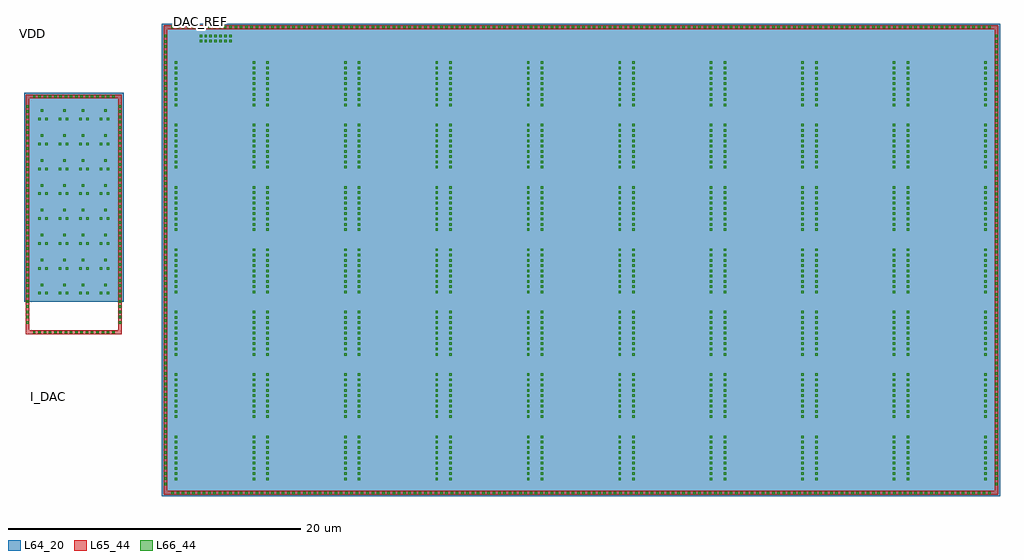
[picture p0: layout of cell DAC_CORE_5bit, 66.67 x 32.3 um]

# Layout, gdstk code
from math import pi, radians
import gdstk
lib = gdstk.Library(unit=1e-6, precision=1e-09)
def R(c, l, rs):  # rectangles x0, y0, x1, y1
    for r in rs: c.add(gdstk.rectangle(r[:2], r[2:], *l))
def A(c, l, x, y, w, h, nx, ny, dx, dy):  # array of equal rectangles
    R(c, l, [(x+i*dx, y+j*dy, x+i*dx+w, y+j*dy+h) for i in range(nx) for j in range(ny)])
L64_20 = (64, 20)
L65_44 = (65, 44)
L66_44 = (66, 44)

d_sky130_fd_pr__pfet_01v = lib.new_cell('D$sky130_fd_pr__pfet_01v8')
R(d_sky130_fd_pr__pfet_01v, L64_20, [(-0.075,-0.21,0.075,0.21)])

c_d_sky130_fd_pr__pfet_01v = lib.new_cell('D$sky130_fd_pr__pfet_01v8$1')
R(c_d_sky130_fd_pr__pfet_01v, L64_20, [(-2.5,-1.75,2.5,1.75)])

dac_core_5bit = lib.new_cell('DAC_CORE_5bit')
A(dac_core_5bit, L64_20, -0.325, -0.38, 6.25, 4.26, 9, 7, 6.25, 4.26)
A(dac_core_5bit, L64_20, -9.645, 12.41, 1.4, 1.7, 4, 8, 1.4, 1.7)
R(dac_core_5bit, L64_20, [(-0.825,-0.88,56.425,31.42), (-10.245,12.41,-3.445,26.685)])
R(dac_core_5bit, L65_44, [(-0.7,-0.755,-0.45,31.045), (-0.45,-0.755,56.3,-0.505), (56.05,-0.505,56.3,31.045), (-10.12,10.21,-9.87,26.31), (-9.87,10.21,-3.57,10.46), (-3.82,10.46,-3.57,26.31), (-10.12,26.31,-3.57,26.56), (-0.7,31.045,56.3,31.295)])
A(dac_core_5bit, L66_44, -0.185, -0.715, 0.17, 0.17, 156, 2, 0.36, 31.8)
A(dac_core_5bit, L66_44, -0.66, -0.115, 0.17, 0.17, 1, 86, 0, 0.36)
A(dac_core_5bit, L66_44, 56.09, -0.115, 0.17, 0.17, 1, 86, 0, 0.36)
A(dac_core_5bit, L66_44, 0.065, 0.225, 0.17, 0.17, 1, 9, 0, 0.36)
A(dac_core_5bit, L66_44, 5.365, 0.225, 0.17, 0.17, 1, 9, 0, 0.36)
A(dac_core_5bit, L66_44, 6.315, 0.225, 0.17, 0.17, 1, 9, 0, 0.36)
A(dac_core_5bit, L66_44, 11.615, 0.225, 0.17, 0.17, 1, 9, 0, 0.36)
A(dac_core_5bit, L66_44, 12.565, 0.225, 0.17, 0.17, 1, 9, 0, 0.36)
A(dac_core_5bit, L66_44, 17.865, 0.225, 0.17, 0.17, 1, 9, 0, 0.36)
A(dac_core_5bit, L66_44, 18.815, 0.225, 0.17, 0.17, 1, 9, 0, 0.36)
A(dac_core_5bit, L66_44, 24.115, 0.225, 0.17, 0.17, 1, 9, 0, 0.36)
A(dac_core_5bit, L66_44, 25.065, 0.225, 0.17, 0.17, 1, 9, 0, 0.36)
A(dac_core_5bit, L66_44, 30.365, 0.225, 0.17, 0.17, 1, 9, 0, 0.36)
A(dac_core_5bit, L66_44, 31.315, 0.225, 0.17, 0.17, 1, 9, 0, 0.36)
A(dac_core_5bit, L66_44, 36.615, 0.225, 0.17, 0.17, 1, 9, 0, 0.36)
A(dac_core_5bit, L66_44, 37.565, 0.225, 0.17, 0.17, 1, 9, 0, 0.36)
A(dac_core_5bit, L66_44, 42.865, 0.225, 0.17, 0.17, 1, 9, 0, 0.36)
A(dac_core_5bit, L66_44, 43.815, 0.225, 0.17, 0.17, 1, 9, 0, 0.36)
A(dac_core_5bit, L66_44, 49.115, 0.225, 0.17, 0.17, 1, 9, 0, 0.36)
A(dac_core_5bit, L66_44, 50.065, 0.225, 0.17, 0.17, 1, 9, 0, 0.36)
A(dac_core_5bit, L66_44, 55.365, 0.225, 0.17, 0.17, 1, 9, 0, 0.36)
A(dac_core_5bit, L66_44, 0.065, 4.485, 0.17, 0.17, 1, 9, 0, 0.36)
A(dac_core_5bit, L66_44, 5.365, 4.485, 0.17, 0.17, 1, 9, 0, 0.36)
A(dac_core_5bit, L66_44, 6.315, 4.485, 0.17, 0.17, 1, 9, 0, 0.36)
A(dac_core_5bit, L66_44, 11.615, 4.485, 0.17, 0.17, 1, 9, 0, 0.36)
A(dac_core_5bit, L66_44, 12.565, 4.485, 0.17, 0.17, 1, 9, 0, 0.36)
A(dac_core_5bit, L66_44, 17.865, 4.485, 0.17, 0.17, 1, 9, 0, 0.36)
A(dac_core_5bit, L66_44, 18.815, 4.485, 0.17, 0.17, 1, 9, 0, 0.36)
A(dac_core_5bit, L66_44, 24.115, 4.485, 0.17, 0.17, 1, 9, 0, 0.36)
A(dac_core_5bit, L66_44, 25.065, 4.485, 0.17, 0.17, 1, 9, 0, 0.36)
A(dac_core_5bit, L66_44, 30.365, 4.485, 0.17, 0.17, 1, 9, 0, 0.36)
A(dac_core_5bit, L66_44, 31.315, 4.485, 0.17, 0.17, 1, 9, 0, 0.36)
A(dac_core_5bit, L66_44, 36.615, 4.485, 0.17, 0.17, 1, 9, 0, 0.36)
A(dac_core_5bit, L66_44, 37.565, 4.485, 0.17, 0.17, 1, 9, 0, 0.36)
A(dac_core_5bit, L66_44, 42.865, 4.485, 0.17, 0.17, 1, 9, 0, 0.36)
A(dac_core_5bit, L66_44, 43.815, 4.485, 0.17, 0.17, 1, 9, 0, 0.36)
A(dac_core_5bit, L66_44, 49.115, 4.485, 0.17, 0.17, 1, 9, 0, 0.36)
A(dac_core_5bit, L66_44, 50.065, 4.485, 0.17, 0.17, 1, 9, 0, 0.36)
A(dac_core_5bit, L66_44, 55.365, 4.485, 0.17, 0.17, 1, 9, 0, 0.36)
A(dac_core_5bit, L66_44, 0.065, 8.745, 0.17, 0.17, 1, 9, 0, 0.36)
A(dac_core_5bit, L66_44, 5.365, 8.745, 0.17, 0.17, 1, 9, 0, 0.36)
A(dac_core_5bit, L66_44, 6.315, 8.745, 0.17, 0.17, 1, 9, 0, 0.36)
A(dac_core_5bit, L66_44, 11.615, 8.745, 0.17, 0.17, 1, 9, 0, 0.36)
A(dac_core_5bit, L66_44, 12.565, 8.745, 0.17, 0.17, 1, 9, 0, 0.36)
A(dac_core_5bit, L66_44, 17.865, 8.745, 0.17, 0.17, 1, 9, 0, 0.36)
A(dac_core_5bit, L66_44, 18.815, 8.745, 0.17, 0.17, 1, 9, 0, 0.36)
A(dac_core_5bit, L66_44, 24.115, 8.745, 0.17, 0.17, 1, 9, 0, 0.36)
A(dac_core_5bit, L66_44, 25.065, 8.745, 0.17, 0.17, 1, 9, 0, 0.36)
A(dac_core_5bit, L66_44, 30.365, 8.745, 0.17, 0.17, 1, 9, 0, 0.36)
A(dac_core_5bit, L66_44, 31.315, 8.745, 0.17, 0.17, 1, 9, 0, 0.36)
A(dac_core_5bit, L66_44, 36.615, 8.745, 0.17, 0.17, 1, 9, 0, 0.36)
A(dac_core_5bit, L66_44, 37.565, 8.745, 0.17, 0.17, 1, 9, 0, 0.36)
A(dac_core_5bit, L66_44, 42.865, 8.745, 0.17, 0.17, 1, 9, 0, 0.36)
A(dac_core_5bit, L66_44, 43.815, 8.745, 0.17, 0.17, 1, 9, 0, 0.36)
A(dac_core_5bit, L66_44, 49.115, 8.745, 0.17, 0.17, 1, 9, 0, 0.36)
A(dac_core_5bit, L66_44, 50.065, 8.745, 0.17, 0.17, 1, 9, 0, 0.36)
A(dac_core_5bit, L66_44, 55.365, 8.745, 0.17, 0.17, 1, 9, 0, 0.36)
A(dac_core_5bit, L66_44, -9.63, 10.25, 0.17, 0.17, 16, 2, 0.36, 16.1)
A(dac_core_5bit, L66_44, -10.08, 10.92, 0.17, 0.17, 1, 42, 0, 0.36)
A(dac_core_5bit, L66_44, -3.78, 10.92, 0.17, 0.17, 1, 42, 0, 0.36)
A(dac_core_5bit, L66_44, -9.255, 12.915, 0.17, 0.17, 1, 8, 0, 1.7)
A(dac_core_5bit, L66_44, -8.805, 12.915, 0.17, 0.17, 1, 8, 0, 1.7)
A(dac_core_5bit, L66_44, -7.855, 12.915, 0.17, 0.17, 1, 8, 0, 1.7)
A(dac_core_5bit, L66_44, -7.405, 12.915, 0.17, 0.17, 1, 8, 0, 1.7)
A(dac_core_5bit, L66_44, -6.455, 12.915, 0.17, 0.17, 1, 8, 0, 1.7)
A(dac_core_5bit, L66_44, -6.005, 12.915, 0.17, 0.17, 1, 8, 0, 1.7)
A(dac_core_5bit, L66_44, -5.055, 12.915, 0.17, 0.17, 1, 8, 0, 1.7)
A(dac_core_5bit, L66_44, -4.605, 12.915, 0.17, 0.17, 1, 8, 0, 1.7)
A(dac_core_5bit, L66_44, 0.065, 13.005, 0.17, 0.17, 1, 9, 0, 0.36)
A(dac_core_5bit, L66_44, 5.365, 13.005, 0.17, 0.17, 1, 9, 0, 0.36)
A(dac_core_5bit, L66_44, 6.315, 13.005, 0.17, 0.17, 1, 9, 0, 0.36)
A(dac_core_5bit, L66_44, 11.615, 13.005, 0.17, 0.17, 1, 9, 0, 0.36)
A(dac_core_5bit, L66_44, 12.565, 13.005, 0.17, 0.17, 1, 9, 0, 0.36)
A(dac_core_5bit, L66_44, 17.865, 13.005, 0.17, 0.17, 1, 9, 0, 0.36)
A(dac_core_5bit, L66_44, 18.815, 13.005, 0.17, 0.17, 1, 9, 0, 0.36)
A(dac_core_5bit, L66_44, 24.115, 13.005, 0.17, 0.17, 1, 9, 0, 0.36)
A(dac_core_5bit, L66_44, 25.065, 13.005, 0.17, 0.17, 1, 9, 0, 0.36)
A(dac_core_5bit, L66_44, 30.365, 13.005, 0.17, 0.17, 1, 9, 0, 0.36)
A(dac_core_5bit, L66_44, 31.315, 13.005, 0.17, 0.17, 1, 9, 0, 0.36)
A(dac_core_5bit, L66_44, 36.615, 13.005, 0.17, 0.17, 1, 9, 0, 0.36)
A(dac_core_5bit, L66_44, 37.565, 13.005, 0.17, 0.17, 1, 9, 0, 0.36)
A(dac_core_5bit, L66_44, 42.865, 13.005, 0.17, 0.17, 1, 9, 0, 0.36)
A(dac_core_5bit, L66_44, 43.815, 13.005, 0.17, 0.17, 1, 9, 0, 0.36)
A(dac_core_5bit, L66_44, 49.115, 13.005, 0.17, 0.17, 1, 9, 0, 0.36)
A(dac_core_5bit, L66_44, 50.065, 13.005, 0.17, 0.17, 1, 9, 0, 0.36)
A(dac_core_5bit, L66_44, 55.365, 13.005, 0.17, 0.17, 1, 9, 0, 0.36)
A(dac_core_5bit, L66_44, -9.09, 13.49, 0.17, 0.17, 1, 8, 0, 1.7)
A(dac_core_5bit, L66_44, -7.57, 13.49, 0.17, 0.17, 1, 8, 0, 1.7)
A(dac_core_5bit, L66_44, -6.29, 13.49, 0.17, 0.17, 1, 8, 0, 1.7)
A(dac_core_5bit, L66_44, -4.77, 13.49, 0.17, 0.17, 1, 8, 0, 1.7)
A(dac_core_5bit, L66_44, 0.065, 17.265, 0.17, 0.17, 1, 9, 0, 0.36)
A(dac_core_5bit, L66_44, 5.365, 17.265, 0.17, 0.17, 1, 9, 0, 0.36)
A(dac_core_5bit, L66_44, 6.315, 17.265, 0.17, 0.17, 1, 9, 0, 0.36)
A(dac_core_5bit, L66_44, 11.615, 17.265, 0.17, 0.17, 1, 9, 0, 0.36)
A(dac_core_5bit, L66_44, 12.565, 17.265, 0.17, 0.17, 1, 9, 0, 0.36)
A(dac_core_5bit, L66_44, 17.865, 17.265, 0.17, 0.17, 1, 9, 0, 0.36)
A(dac_core_5bit, L66_44, 18.815, 17.265, 0.17, 0.17, 1, 9, 0, 0.36)
A(dac_core_5bit, L66_44, 24.115, 17.265, 0.17, 0.17, 1, 9, 0, 0.36)
A(dac_core_5bit, L66_44, 25.065, 17.265, 0.17, 0.17, 1, 9, 0, 0.36)
A(dac_core_5bit, L66_44, 30.365, 17.265, 0.17, 0.17, 1, 9, 0, 0.36)
A(dac_core_5bit, L66_44, 31.315, 17.265, 0.17, 0.17, 1, 9, 0, 0.36)
A(dac_core_5bit, L66_44, 36.615, 17.265, 0.17, 0.17, 1, 9, 0, 0.36)
A(dac_core_5bit, L66_44, 37.565, 17.265, 0.17, 0.17, 1, 9, 0, 0.36)
A(dac_core_5bit, L66_44, 42.865, 17.265, 0.17, 0.17, 1, 9, 0, 0.36)
A(dac_core_5bit, L66_44, 43.815, 17.265, 0.17, 0.17, 1, 9, 0, 0.36)
A(dac_core_5bit, L66_44, 49.115, 17.265, 0.17, 0.17, 1, 9, 0, 0.36)
A(dac_core_5bit, L66_44, 50.065, 17.265, 0.17, 0.17, 1, 9, 0, 0.36)
A(dac_core_5bit, L66_44, 55.365, 17.265, 0.17, 0.17, 1, 9, 0, 0.36)
A(dac_core_5bit, L66_44, 0.065, 21.525, 0.17, 0.17, 1, 9, 0, 0.36)
A(dac_core_5bit, L66_44, 5.365, 21.525, 0.17, 0.17, 1, 9, 0, 0.36)
A(dac_core_5bit, L66_44, 6.315, 21.525, 0.17, 0.17, 1, 9, 0, 0.36)
A(dac_core_5bit, L66_44, 11.615, 21.525, 0.17, 0.17, 1, 9, 0, 0.36)
A(dac_core_5bit, L66_44, 12.565, 21.525, 0.17, 0.17, 1, 9, 0, 0.36)
A(dac_core_5bit, L66_44, 17.865, 21.525, 0.17, 0.17, 1, 9, 0, 0.36)
A(dac_core_5bit, L66_44, 18.815, 21.525, 0.17, 0.17, 1, 9, 0, 0.36)
A(dac_core_5bit, L66_44, 24.115, 21.525, 0.17, 0.17, 1, 9, 0, 0.36)
A(dac_core_5bit, L66_44, 25.065, 21.525, 0.17, 0.17, 1, 9, 0, 0.36)
A(dac_core_5bit, L66_44, 30.365, 21.525, 0.17, 0.17, 1, 9, 0, 0.36)
A(dac_core_5bit, L66_44, 31.315, 21.525, 0.17, 0.17, 1, 9, 0, 0.36)
A(dac_core_5bit, L66_44, 36.615, 21.525, 0.17, 0.17, 1, 9, 0, 0.36)
A(dac_core_5bit, L66_44, 37.565, 21.525, 0.17, 0.17, 1, 9, 0, 0.36)
A(dac_core_5bit, L66_44, 42.865, 21.525, 0.17, 0.17, 1, 9, 0, 0.36)
A(dac_core_5bit, L66_44, 43.815, 21.525, 0.17, 0.17, 1, 9, 0, 0.36)
A(dac_core_5bit, L66_44, 49.115, 21.525, 0.17, 0.17, 1, 9, 0, 0.36)
A(dac_core_5bit, L66_44, 50.065, 21.525, 0.17, 0.17, 1, 9, 0, 0.36)
A(dac_core_5bit, L66_44, 55.365, 21.525, 0.17, 0.17, 1, 9, 0, 0.36)
A(dac_core_5bit, L66_44, 0.065, 25.785, 0.17, 0.17, 1, 9, 0, 0.36)
A(dac_core_5bit, L66_44, 5.365, 25.785, 0.17, 0.17, 1, 9, 0, 0.36)
A(dac_core_5bit, L66_44, 6.315, 25.785, 0.17, 0.17, 1, 9, 0, 0.36)
A(dac_core_5bit, L66_44, 11.615, 25.785, 0.17, 0.17, 1, 9, 0, 0.36)
A(dac_core_5bit, L66_44, 12.565, 25.785, 0.17, 0.17, 1, 9, 0, 0.36)
A(dac_core_5bit, L66_44, 17.865, 25.785, 0.17, 0.17, 1, 9, 0, 0.36)
A(dac_core_5bit, L66_44, 18.815, 25.785, 0.17, 0.17, 1, 9, 0, 0.36)
A(dac_core_5bit, L66_44, 24.115, 25.785, 0.17, 0.17, 1, 9, 0, 0.36)
A(dac_core_5bit, L66_44, 25.065, 25.785, 0.17, 0.17, 1, 9, 0, 0.36)
A(dac_core_5bit, L66_44, 30.365, 25.785, 0.17, 0.17, 1, 9, 0, 0.36)
A(dac_core_5bit, L66_44, 31.315, 25.785, 0.17, 0.17, 1, 9, 0, 0.36)
A(dac_core_5bit, L66_44, 36.615, 25.785, 0.17, 0.17, 1, 9, 0, 0.36)
A(dac_core_5bit, L66_44, 37.565, 25.785, 0.17, 0.17, 1, 9, 0, 0.36)
A(dac_core_5bit, L66_44, 42.865, 25.785, 0.17, 0.17, 1, 9, 0, 0.36)
A(dac_core_5bit, L66_44, 43.815, 25.785, 0.17, 0.17, 1, 9, 0, 0.36)
A(dac_core_5bit, L66_44, 49.115, 25.785, 0.17, 0.17, 1, 9, 0, 0.36)
A(dac_core_5bit, L66_44, 50.065, 25.785, 0.17, 0.17, 1, 9, 0, 0.36)
A(dac_core_5bit, L66_44, 55.365, 25.785, 0.17, 0.17, 1, 9, 0, 0.36)
A(dac_core_5bit, L66_44, 1.745, 30.135, 0.17, 0.17, 7, 2, 0.34, 0.34)
dac_core_5bit.add(gdstk.Reference(d_sky130_fd_pr__pfet_01v, (-7.545,13)))
dac_core_5bit.add(gdstk.Reference(d_sky130_fd_pr__pfet_01v, (-4.745,13)))
dac_core_5bit.add(gdstk.Reference(d_sky130_fd_pr__pfet_01v, (-7.545,14.7)))
dac_core_5bit.add(gdstk.Reference(d_sky130_fd_pr__pfet_01v, (-4.745,14.7)))
dac_core_5bit.add(gdstk.Reference(d_sky130_fd_pr__pfet_01v, (-7.545,16.4)))
dac_core_5bit.add(gdstk.Reference(d_sky130_fd_pr__pfet_01v, (-4.745,16.4)))
dac_core_5bit.add(gdstk.Reference(d_sky130_fd_pr__pfet_01v, (-7.545,18.1)))
dac_core_5bit.add(gdstk.Reference(d_sky130_fd_pr__pfet_01v, (-4.745,18.1)))
dac_core_5bit.add(gdstk.Reference(d_sky130_fd_pr__pfet_01v, (-7.545,19.8)))
dac_core_5bit.add(gdstk.Reference(d_sky130_fd_pr__pfet_01v, (-4.745,19.8)))
dac_core_5bit.add(gdstk.Reference(d_sky130_fd_pr__pfet_01v, (-7.545,21.5)))
dac_core_5bit.add(gdstk.Reference(d_sky130_fd_pr__pfet_01v, (-4.745,21.5)))
dac_core_5bit.add(gdstk.Reference(d_sky130_fd_pr__pfet_01v, (-7.545,23.2)))
dac_core_5bit.add(gdstk.Reference(d_sky130_fd_pr__pfet_01v, (-4.745,23.2)))
dac_core_5bit.add(gdstk.Reference(d_sky130_fd_pr__pfet_01v, (-7.545,24.9)))
dac_core_5bit.add(gdstk.Reference(d_sky130_fd_pr__pfet_01v, (-4.745,24.9)))
dac_core_5bit.add(gdstk.Reference(d_sky130_fd_pr__pfet_01v, (-8.945,13), rotation=pi, x_reflection=True))
dac_core_5bit.add(gdstk.Reference(d_sky130_fd_pr__pfet_01v, (-6.145,13), rotation=pi, x_reflection=True))
dac_core_5bit.add(gdstk.Reference(d_sky130_fd_pr__pfet_01v, (-8.945,14.7), rotation=pi, x_reflection=True))
dac_core_5bit.add(gdstk.Reference(d_sky130_fd_pr__pfet_01v, (-6.145,14.7), rotation=pi, x_reflection=True))
dac_core_5bit.add(gdstk.Reference(d_sky130_fd_pr__pfet_01v, (-8.945,16.4), rotation=pi, x_reflection=True))
dac_core_5bit.add(gdstk.Reference(d_sky130_fd_pr__pfet_01v, (-6.145,16.4), rotation=pi, x_reflection=True))
dac_core_5bit.add(gdstk.Reference(d_sky130_fd_pr__pfet_01v, (-8.945,18.1), rotation=pi, x_reflection=True))
dac_core_5bit.add(gdstk.Reference(d_sky130_fd_pr__pfet_01v, (-6.145,18.1), rotation=pi, x_reflection=True))
dac_core_5bit.add(gdstk.Reference(d_sky130_fd_pr__pfet_01v, (-8.945,19.8), rotation=pi, x_reflection=True))
dac_core_5bit.add(gdstk.Reference(d_sky130_fd_pr__pfet_01v, (-6.145,19.8), rotation=pi, x_reflection=True))
dac_core_5bit.add(gdstk.Reference(d_sky130_fd_pr__pfet_01v, (-8.945,21.5), rotation=pi, x_reflection=True))
dac_core_5bit.add(gdstk.Reference(d_sky130_fd_pr__pfet_01v, (-6.145,21.5), rotation=pi, x_reflection=True))
dac_core_5bit.add(gdstk.Reference(d_sky130_fd_pr__pfet_01v, (-8.945,23.2), rotation=pi, x_reflection=True))
dac_core_5bit.add(gdstk.Reference(d_sky130_fd_pr__pfet_01v, (-6.145,23.2), rotation=pi, x_reflection=True))
dac_core_5bit.add(gdstk.Reference(d_sky130_fd_pr__pfet_01v, (-8.945,24.9), rotation=pi, x_reflection=True))
dac_core_5bit.add(gdstk.Reference(d_sky130_fd_pr__pfet_01v, (-6.145,24.9), rotation=pi, x_reflection=True))
dac_core_5bit.add(gdstk.Reference(c_d_sky130_fd_pr__pfet_01v, (2.8,1.75)))
dac_core_5bit.add(gdstk.Reference(c_d_sky130_fd_pr__pfet_01v, (9.05,1.75)))
dac_core_5bit.add(gdstk.Reference(c_d_sky130_fd_pr__pfet_01v, (15.3,1.75)))
dac_core_5bit.add(gdstk.Reference(c_d_sky130_fd_pr__pfet_01v, (21.55,1.75)))
dac_core_5bit.add(gdstk.Reference(c_d_sky130_fd_pr__pfet_01v, (27.8,1.75)))
dac_core_5bit.add(gdstk.Reference(c_d_sky130_fd_pr__pfet_01v, (34.05,1.75)))
dac_core_5bit.add(gdstk.Reference(c_d_sky130_fd_pr__pfet_01v, (40.3,1.75)))
dac_core_5bit.add(gdstk.Reference(c_d_sky130_fd_pr__pfet_01v, (46.55,1.75)))
dac_core_5bit.add(gdstk.Reference(c_d_sky130_fd_pr__pfet_01v, (52.8,1.75)))
dac_core_5bit.add(gdstk.Reference(c_d_sky130_fd_pr__pfet_01v, (2.8,6.01)))
dac_core_5bit.add(gdstk.Reference(c_d_sky130_fd_pr__pfet_01v, (9.05,6.01)))
dac_core_5bit.add(gdstk.Reference(c_d_sky130_fd_pr__pfet_01v, (15.3,6.01)))
dac_core_5bit.add(gdstk.Reference(c_d_sky130_fd_pr__pfet_01v, (21.55,6.01)))
dac_core_5bit.add(gdstk.Reference(c_d_sky130_fd_pr__pfet_01v, (27.8,6.01)))
dac_core_5bit.add(gdstk.Reference(c_d_sky130_fd_pr__pfet_01v, (34.05,6.01)))
dac_core_5bit.add(gdstk.Reference(c_d_sky130_fd_pr__pfet_01v, (40.3,6.01)))
dac_core_5bit.add(gdstk.Reference(c_d_sky130_fd_pr__pfet_01v, (46.55,6.01)))
dac_core_5bit.add(gdstk.Reference(c_d_sky130_fd_pr__pfet_01v, (52.8,6.01)))
dac_core_5bit.add(gdstk.Reference(c_d_sky130_fd_pr__pfet_01v, (2.8,10.27)))
dac_core_5bit.add(gdstk.Reference(c_d_sky130_fd_pr__pfet_01v, (9.05,10.27)))
dac_core_5bit.add(gdstk.Reference(c_d_sky130_fd_pr__pfet_01v, (15.3,10.27)))
dac_core_5bit.add(gdstk.Reference(c_d_sky130_fd_pr__pfet_01v, (21.55,10.27)))
dac_core_5bit.add(gdstk.Reference(c_d_sky130_fd_pr__pfet_01v, (27.8,10.27)))
dac_core_5bit.add(gdstk.Reference(c_d_sky130_fd_pr__pfet_01v, (34.05,10.27)))
dac_core_5bit.add(gdstk.Reference(c_d_sky130_fd_pr__pfet_01v, (40.3,10.27)))
dac_core_5bit.add(gdstk.Reference(c_d_sky130_fd_pr__pfet_01v, (46.55,10.27)))
dac_core_5bit.add(gdstk.Reference(c_d_sky130_fd_pr__pfet_01v, (52.8,10.27)))
dac_core_5bit.add(gdstk.Reference(c_d_sky130_fd_pr__pfet_01v, (2.8,14.53)))
dac_core_5bit.add(gdstk.Reference(c_d_sky130_fd_pr__pfet_01v, (9.05,14.53)))
dac_core_5bit.add(gdstk.Reference(c_d_sky130_fd_pr__pfet_01v, (15.3,14.53)))
dac_core_5bit.add(gdstk.Reference(c_d_sky130_fd_pr__pfet_01v, (21.55,14.53)))
dac_core_5bit.add(gdstk.Reference(c_d_sky130_fd_pr__pfet_01v, (27.8,14.53)))
dac_core_5bit.add(gdstk.Reference(c_d_sky130_fd_pr__pfet_01v, (34.05,14.53)))
dac_core_5bit.add(gdstk.Reference(c_d_sky130_fd_pr__pfet_01v, (40.3,14.53)))
dac_core_5bit.add(gdstk.Reference(c_d_sky130_fd_pr__pfet_01v, (46.55,14.53)))
dac_core_5bit.add(gdstk.Reference(c_d_sky130_fd_pr__pfet_01v, (52.8,14.53)))
dac_core_5bit.add(gdstk.Reference(c_d_sky130_fd_pr__pfet_01v, (2.8,18.79)))
dac_core_5bit.add(gdstk.Reference(c_d_sky130_fd_pr__pfet_01v, (9.05,18.79)))
dac_core_5bit.add(gdstk.Reference(c_d_sky130_fd_pr__pfet_01v, (15.3,18.79)))
dac_core_5bit.add(gdstk.Reference(c_d_sky130_fd_pr__pfet_01v, (21.55,18.79)))
dac_core_5bit.add(gdstk.Reference(c_d_sky130_fd_pr__pfet_01v, (27.8,18.79)))
dac_core_5bit.add(gdstk.Reference(c_d_sky130_fd_pr__pfet_01v, (34.05,18.79)))
dac_core_5bit.add(gdstk.Reference(c_d_sky130_fd_pr__pfet_01v, (40.3,18.79)))
dac_core_5bit.add(gdstk.Reference(c_d_sky130_fd_pr__pfet_01v, (46.55,18.79)))
dac_core_5bit.add(gdstk.Reference(c_d_sky130_fd_pr__pfet_01v, (52.8,18.79)))
dac_core_5bit.add(gdstk.Reference(c_d_sky130_fd_pr__pfet_01v, (2.8,23.05)))
dac_core_5bit.add(gdstk.Reference(c_d_sky130_fd_pr__pfet_01v, (9.05,23.05)))
dac_core_5bit.add(gdstk.Reference(c_d_sky130_fd_pr__pfet_01v, (15.3,23.05)))
dac_core_5bit.add(gdstk.Reference(c_d_sky130_fd_pr__pfet_01v, (21.55,23.05)))
dac_core_5bit.add(gdstk.Reference(c_d_sky130_fd_pr__pfet_01v, (27.8,23.05)))
dac_core_5bit.add(gdstk.Reference(c_d_sky130_fd_pr__pfet_01v, (34.05,23.05)))
dac_core_5bit.add(gdstk.Reference(c_d_sky130_fd_pr__pfet_01v, (40.3,23.05)))
dac_core_5bit.add(gdstk.Reference(c_d_sky130_fd_pr__pfet_01v, (46.55,23.05)))
dac_core_5bit.add(gdstk.Reference(c_d_sky130_fd_pr__pfet_01v, (52.8,23.05)))
dac_core_5bit.add(gdstk.Reference(c_d_sky130_fd_pr__pfet_01v, (2.8,27.31)))
dac_core_5bit.add(gdstk.Reference(c_d_sky130_fd_pr__pfet_01v, (9.05,27.31)))
dac_core_5bit.add(gdstk.Reference(c_d_sky130_fd_pr__pfet_01v, (15.3,27.31)))
dac_core_5bit.add(gdstk.Reference(c_d_sky130_fd_pr__pfet_01v, (21.55,27.31)))
dac_core_5bit.add(gdstk.Reference(c_d_sky130_fd_pr__pfet_01v, (27.8,27.31)))
dac_core_5bit.add(gdstk.Reference(c_d_sky130_fd_pr__pfet_01v, (34.05,27.31)))
dac_core_5bit.add(gdstk.Reference(c_d_sky130_fd_pr__pfet_01v, (40.3,27.31)))
dac_core_5bit.add(gdstk.Reference(c_d_sky130_fd_pr__pfet_01v, (46.55,27.31)))
dac_core_5bit.add(gdstk.Reference(c_d_sky130_fd_pr__pfet_01v, (52.8,27.31)))
dac_core_5bit.add(gdstk.Label('VDD', (-9.69,30.76), layer=68, texttype=5))
dac_core_5bit.add(gdstk.Label('DAC_REF', (1.84,31.56), layer=69, texttype=5))
dac_core_5bit.add(gdstk.Label('B[4]', (-12.777,25.44), layer=69, texttype=5))
dac_core_5bit.add(gdstk.Label('B[3]', (-12.777,18.665), layer=69, texttype=5))
dac_core_5bit.add(gdstk.Label('B[2]', (-12.777,15.27), layer=69, texttype=5))
dac_core_5bit.add(gdstk.Label('B[1]', (-12.777,13.54), layer=69, texttype=5))
dac_core_5bit.add(gdstk.Label('B[0]', (-12.777,9.393), layer=69, texttype=5))
dac_core_5bit.add(gdstk.Label('I_DAC', (-8.55,5.97), layer=69, texttype=5))

lib.write_gds('DAC_CORE_5bit.gds')
